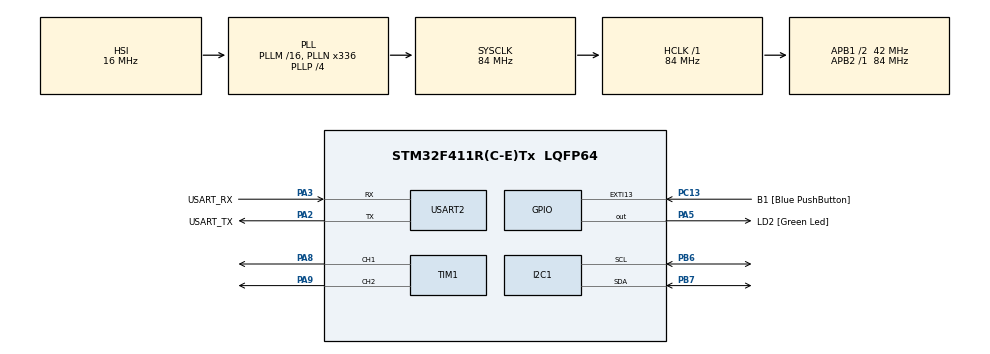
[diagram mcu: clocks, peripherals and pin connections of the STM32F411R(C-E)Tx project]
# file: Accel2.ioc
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Mcu.Family=STM32F4
Mcu.Name=STM32F411R(C-E)Tx
Mcu.Package=LQFP64
NVIC.PriorityGroup=NVIC_PRIORITYGROUP_0
PA13.GPIO_Label=TMS
PA13.Mode=Serial_Wire
PA13.Signal=SYS_JTMS-SWDIO
PA14.GPIO_Label=TCK
PA14.Mode=Serial_Wire
PA14.Signal=SYS_JTCK-SWCLK
PA2.GPIO_Label=USART_TX
PA2.Mode=Asynchronous
PA2.Signal=USART2_TX
PA3.GPIO_Label=USART_RX
PA3.Mode=Asynchronous
PA3.Signal=USART2_RX
PA5.GPIO_Label=LD2 [Green Led]
PA5.Signal=GPIO_Output
PA8.Signal=S_TIM1_CH1
PA9.Signal=S_TIM1_CH2
PB3.GPIO_Label=SWO
PB3.Signal=SYS_JTDO-SWO
PB6.Mode=I2C
PB6.Signal=I2C1_SCL
PB7.Mode=I2C
PB7.Signal=I2C1_SDA
PC13-ANTI_TAMP.GPIO_Label=B1 [Blue PushButton]
PC13-ANTI_TAMP.GPIO_ModeDefaultEXTI=GPIO_MODE_IT_FALLING
PC13-ANTI_TAMP.Signal=GPXTI13
PC14-OSC32_IN.Mode=LSE-External-Oscillator
PC14-OSC32_IN.Signal=RCC_OSC32_IN
PC15-OSC32_OUT.Mode=LSE-External-Oscillator
PC15-OSC32_OUT.Signal=RCC_OSC32_OUT
PH0\ -\ OSC_IN.Mode=HSE-External-Clock-Source
PH0\ -\ OSC_IN.Signal=RCC_OSC_IN
PH1\ -\ OSC_OUT.Mode=HSE-External-Clock-Source
PH1\ -\ OSC_OUT.Signal=RCC_OSC_OUT
ProjectManager.HeapSize=0x200
ProjectManager.StackSize=0x400
ProjectManager.TargetToolchain=Makefile
RCC.48MHZClocksFreq_Value=84000000
RCC.AHBFreq_Value=84000000
RCC.APB1CLKDivider=RCC_HCLK_DIV2
RCC.APB1Freq_Value=42000000
RCC.APB1TimFreq_Value=84000000
RCC.APB2Freq_Value=84000000
RCC.APB2TimFreq_Value=84000000
RCC.CortexFreq_Value=84000000
RCC.FLatency-AdvancedSettings=FLASH_LATENCY_2
RCC.HCLKFreq_Value=84000000
RCC.HSE_VALUE=8000000
RCC.HSI_VALUE=16000000
RCC.PLLN=336
RCC.PLLP=RCC_PLLP_DIV4
RCC.SYSCLKFreq_VALUE=84000000
RCC.SYSCLKSource=RCC_SYSCLKSOURCE_PLLCLK
RCC.VCOOutputFreq_Value=336000000
SH.S_TIM1_CH1.0=TIM1_CH1,PWM Generation1 CH1
SH.S_TIM1_CH2.0=TIM1_CH2,PWM Generation2 CH2
TIM1.Channel-PWM\ Generation1\ CH1=TIM_CHANNEL_1
TIM1.Channel-PWM\ Generation2\ CH2=TIM_CHANNEL_2
USART2.VirtualMode=VM_ASYNC
board=NUCLEO-F411RE

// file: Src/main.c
//SCL -> PB6
//SDA -> PB7

//PWM1 -> PA8
//PWM2 -> PA9

/**
  ******************************************************************************
  * @file           : main.c
  * @brief          : Main program body
  ******************************************************************************
  ** This notice applies to any and all portions of this file
  * that are not between comment pairs USER CODE BEGIN and
  * USER CODE END. Other portions of this file, whether
  * inserted by the user or by software development tools
  * are owned by their respective copyright owners.
  *
  * COPYRIGHT(c) 2018 STMicroelectronics
  *
  * Redistribution and use in source and binary forms, with or without modification,
  * are permitted provided that the following conditions are met:
  *   1. Redistributions of source code must retain the above copyright notice,
  *      this list of conditions and the following disclaimer.
  *   2. Redistributions in binary form must reproduce the above copyright notice,
  *      this list of conditions and the following disclaimer in the documentation
  *      and/or other materials provided with the distribution.
  *   3. Neither the name of STMicroelectronics nor the names of its contributors
  *      may be used to endorse or promote products derived from this software
  *      without specific prior written permission.
  *
  * THIS SOFTWARE IS PROVIDED BY THE COPYRIGHT HOLDERS AND CONTRIBUTORS "AS IS"
  * AND ANY EXPRESS OR IMPLIED WARRANTIES, INCLUDING, BUT NOT LIMITED TO, THE
  * IMPLIED WARRANTIES OF MERCHANTABILITY AND FITNESS FOR A PARTICULAR PURPOSE ARE
  * DISCLAIMED. IN NO EVENT SHALL THE COPYRIGHT HOLDER OR CONTRIBUTORS BE LIABLE
  * FOR ANY DIRECT, INDIRECT, INCIDENTAL, SPECIAL, EXEMPLARY, OR CONSEQUENTIAL
  * DAMAGES (INCLUDING, BUT NOT LIMITED TO, PROCUREMENT OF SUBSTITUTE GOODS OR
  * SERVICES; LOSS OF USE, DATA, OR PROFITS; OR BUSINESS INTERRUPTION) HOWEVER
  * CAUSED AND ON ANY THEORY OF LIABILITY, WHETHER IN CONTRACT, STRICT LIABILITY,
  * OR TORT (INCLUDING NEGLIGENCE OR OTHERWISE) ARISING IN ANY WAY OUT OF THE USE
  * OF THIS SOFTWARE, EVEN IF ADVISED OF THE POSSIBILITY OF SUCH DAMAGE.
  *
  ******************************************************************************
  */
#include "main.h"
#include "stm32f4xx_hal.h"
#include "i2c.h"
#include "tim.h"
#include "usart.h"
#include "gpio.h"

/* USER CODE BEGIN Includes */
#include "sd_hal_mpu6050.h"
/* USER CODE END Includes */

/* USER CODE BEGIN PV */
/* Private variables ---------------------------------------------------------*/
SD_MPU6050 mpu1;
/* USER CODE END PV */

void SystemClock_Config(void);

/* USER CODE BEGIN PFP */
/* Private function prototypes -----------------------------------------------*/

/* USER CODE END PFP */

int main(void)
{
  /* USER CODE BEGIN 1 */
    SD_MPU6050_Result result ;
	uint8_t mpu_ok[15] = {"MPU WORK FINE\n"};
    uint8_t mpu_not[17] = {"MPU NOT WORKING\n"};
    int16_t somme_erreur = 0;
    int16_t delta_erreur = 0;
    int16_t delta_erreur_prec = 0;
    int16_t cmd = 0;
    float kp = 0.02;           // Coefficient proportionnel
    float ki = 0.0;           // Coefficient intégrateur
    float kd = 0.01;           // Coefficient dérivateur
    int moteur1 = 0;
    int moteur2 = 0;
  /* USER CODE END 1 */

  /* MCU Configuration----------------------------------------------------------*/

  /* Reset of all peripherals, Initializes the Flash interface and the Systick. */
  HAL_Init();

  /* Configure the system clock */
  SystemClock_Config();

  /* Initialize all configured peripherals */
  MX_GPIO_Init();
  MX_USART2_UART_Init();
  MX_I2C1_Init();
  MX_TIM1_Init();
  /* USER CODE BEGIN 2 */
    HAL_TIM_PWM_Start(&htim1, TIM_CHANNEL_1);
    HAL_TIM_PWM_Start(&htim1, TIM_CHANNEL_2);

  //TEST SEQUENCE DEMARRAGE
    __HAL_TIM_SET_COMPARE(&htim1, TIM_CHANNEL_1, 6000);
    __HAL_TIM_SET_COMPARE(&htim1, TIM_CHANNEL_2, 6000);
    HAL_Delay(4000);
    __HAL_TIM_SET_COMPARE(&htim1, TIM_CHANNEL_1, 3000);
    __HAL_TIM_SET_COMPARE(&htim1, TIM_CHANNEL_2, 3000);
    HAL_Delay(4000);
    __HAL_TIM_SET_COMPARE(&htim1, TIM_CHANNEL_1, 3000);
    __HAL_TIM_SET_COMPARE(&htim1, TIM_CHANNEL_2, 3000);

    int i = 2000;
    for (i = 3000; i< 3200; i++)
    {
        __HAL_TIM_SET_COMPARE(&htim1, TIM_CHANNEL_1, i);
        __HAL_TIM_SET_COMPARE(&htim1, TIM_CHANNEL_2, i);
        HAL_Delay(7);
    }

    HAL_Delay(200);
    HAL_UART_Transmit(&huart2, "Attenzion zest partiiii  ....", sizeof("Attenzion zest partiiii  ...."),HAL_MAX_DELAY);

  /* USER CODE END 2 */

  /* Infinite loop */
  /* USER CODE BEGIN WHILE */
  while (1)
  {
    result = SD_MPU6050_Init(&hi2c1,&mpu1,SD_MPU6050_Device_0,SD_MPU6050_Accelerometer_2G,SD_MPU6050_Gyroscope_250s );
	  //HAL_Delay(500);
  /* USER CODE END WHILE */
	  if(result == SD_MPU6050_Result_Ok)
	  {
		  //SD_UART_Send(&huart1,mpu_ok,(uint16_t)15);
            //HAL_UART_Transmit(&huart2, mpu_ok, sizeof(mpu_ok), HAL_MAX_DELAY);
	  }
	  else
	  {
		  //SD_UART_Send(&huart1,mpu_not,(uint16_t)17);
            HAL_UART_Transmit(&huart2, "MPU en PLS", sizeof("MPU en PLS"), HAL_MAX_DELAY);
	  }
	  //HAL_Delay(20);
	  SD_MPU6050_ReadTemperature(&hi2c1,&mpu1);
	  float temper = mpu1.Temperature;
	  SD_MPU6050_ReadGyroscope(&hi2c1,&mpu1);
	  int16_t g_x = mpu1.Gyroscope_X;
	  int16_t g_y = mpu1.Gyroscope_Y;
      int16_t g_z = mpu1.Gyroscope_Z;

      SD_MPU6050_ReadAccelerometer(&hi2c1,&mpu1);
	  int16_t a_x = mpu1.Accelerometer_X;
	  int16_t a_y = mpu1.Accelerometer_Y;
      int16_t a_z = mpu1.Accelerometer_Z;
      char theIntAsString[7];

    int16_t a_yt = (a_y/16400.0)*90;
    sprintf( theIntAsString, "%i", a_yt );
    HAL_UART_Transmit(&huart2, theIntAsString, sizeof(theIntAsString),HAL_MAX_DELAY);
    HAL_UART_Transmit(&huart2, "\r\n", sizeof("\r\n"), HAL_MAX_DELAY);
    HAL_Delay(200);

  /* USER CODE END WHILE */

  /* USER CODE BEGIN 3 */

    // Calcul des erreurs
    int16_t erreur = a_y;
    somme_erreur += erreur;
    delta_erreur = erreur-delta_erreur_prec;
    delta_erreur_prec = delta_erreur;

    // PID : calcul de la commande
    cmd = kp*erreur + ki*somme_erreur + kd*delta_erreur;

    HAL_UART_Transmit(&huart2, "com", sizeof("com"),HAL_MAX_DELAY);
    sprintf( theIntAsString, "%i", cmd );
    HAL_UART_Transmit(&huart2, theIntAsString, sizeof(theIntAsString),HAL_MAX_DELAY);
    HAL_UART_Transmit(&huart2, "\r\n", sizeof("\r\n"), HAL_MAX_DELAY);

    if(cmd>0)
    {
        moteur1 = 3200 + abs(cmd);
        moteur2 = 3200;
    }
    else
    {
        moteur1 = 3200;
        moteur2 = 3200 + abs(cmd);
    }

    __HAL_TIM_SET_COMPARE(&htim1, TIM_CHANNEL_1, moteur1);
    __HAL_TIM_SET_COMPARE(&htim1, TIM_CHANNEL_2, moteur2);

  }
  /* USER CODE END 3 */

}

void SystemClock_Config(void)
{

  RCC_OscInitTypeDef RCC_OscInitStruct;
  RCC_ClkInitTypeDef RCC_ClkInitStruct;

    /**Configure the main internal regulator output voltage
    */
  __HAL_RCC_PWR_CLK_ENABLE();

  __HAL_PWR_VOLTAGESCALING_CONFIG(PWR_REGULATOR_VOLTAGE_SCALE1);

    /**Initializes the CPU, AHB and APB busses clocks
    */
  RCC_OscInitStruct.OscillatorType = RCC_OSCILLATORTYPE_HSI;
  RCC_OscInitStruct.HSIState = RCC_HSI_ON;
  RCC_OscInitStruct.HSICalibrationValue = 16;
  RCC_OscInitStruct.PLL.PLLState = RCC_PLL_ON;
  RCC_OscInitStruct.PLL.PLLSource = RCC_PLLSOURCE_HSI;
  RCC_OscInitStruct.PLL.PLLM = 16;
  RCC_OscInitStruct.PLL.PLLN = 336;
  RCC_OscInitStruct.PLL.PLLP = RCC_PLLP_DIV4;
  RCC_OscInitStruct.PLL.PLLQ = 4;
  if (HAL_RCC_OscConfig(&RCC_OscInitStruct) != HAL_OK)
  {
    _Error_Handler(__FILE__, __LINE__);
  }

    /**Initializes the CPU, AHB and APB busses clocks
    */
  RCC_ClkInitStruct.ClockType = RCC_CLOCKTYPE_HCLK|RCC_CLOCKTYPE_SYSCLK
                              |RCC_CLOCKTYPE_PCLK1|RCC_CLOCKTYPE_PCLK2;
  RCC_ClkInitStruct.SYSCLKSource = RCC_SYSCLKSOURCE_PLLCLK;
  RCC_ClkInitStruct.AHBCLKDivider = RCC_SYSCLK_DIV1;
  RCC_ClkInitStruct.APB1CLKDivider = RCC_HCLK_DIV2;
  RCC_ClkInitStruct.APB2CLKDivider = RCC_HCLK_DIV1;

  if (HAL_RCC_ClockConfig(&RCC_ClkInitStruct, FLASH_LATENCY_2) != HAL_OK)
  {
    _Error_Handler(__FILE__, __LINE__);
  }

    /**Configure the Systick interrupt time
    */
  HAL_SYSTICK_Config(HAL_RCC_GetHCLKFreq()/1000);

    /**Configure the Systick
    */
  HAL_SYSTICK_CLKSourceConfig(SYSTICK_CLKSOURCE_HCLK);

  /* SysTick_IRQn interrupt configuration */
  HAL_NVIC_SetPriority(SysTick_IRQn, 0, 0);
}

void _Error_Handler(char *file, int line)
{
  /* USER CODE BEGIN Error_Handler_Debug */
  /* User can add his own implementation to report the HAL error return state */
  while(1)
  {
    HAL_UART_Transmit(&huart2, "Alerte, nous avons un code rouge", sizeof("Alerte, nous avons un code rouge"),HAL_MAX_DELAY);
    HAL_UART_Transmit(&huart2, "\r\n", sizeof("\r\n"), HAL_MAX_DELAY);
  }
  /* USER CODE END Error_Handler_Debug */
}

/************************ (C) COPYRIGHT STMicroelectronics *****END OF FILE****/
